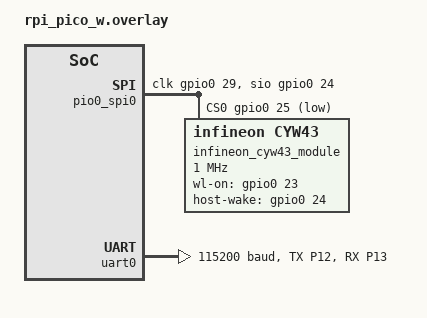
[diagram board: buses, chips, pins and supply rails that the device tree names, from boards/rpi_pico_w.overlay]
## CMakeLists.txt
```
# SPDX-License-Identifier: Apache-2.0

cmake_minimum_required(VERSION 3.20.0)

set(DTS_ROOT_BINDINGS "${CMAKE_CURRENT_SOURCE_DIR}")

set(BOARD rpi_pico_w)

set(EXTRA_CONF_FILE local.conf)
find_package(Zephyr REQUIRED HINTS $ENV{ZEPHYR_BASE})
project(app LANGUAGES C)


include_directories(app PRIVATE src)

FILE(GLOB app_sources src/*.c)
target_sources(app PRIVATE
  ${app_sources}
  )

add_subdirectory(../ build/drivers)

# zephyr_compile_options(-save-temps)
```

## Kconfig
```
menu "App"
config WIFI_SSID
	string "WIFI SSID - Network name"
	default ""

config WIFI_PSK
	string "WIFI PSK - Network password key"
	default ""

rsource "../Kconfig"
endmenu

menu "Zephyr"
source "Kconfig.zephyr"
endmenu
```

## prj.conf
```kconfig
#
# Copyright (c) 2023 Beechwoods Software
#
# SPDX-License-Identifier: Apache-2.0
#
CONFIG_DEBUG=y

CONFIG_NET_MGMT_EVENT_STACK_SIZE=2048
CONFIG_SHELL_STACK_SIZE=2560

CONFIG_NET_LOG=y
#CONFIG_NET_IF_LOG_LEVEL_DBG=y
#CONFIG_NET_PKT_LOG_LEVEL_DBG=y
CONFIG_WIFI_LOG_LEVEL_INF=y
#CONFIG_NET_CAPTURE_LOG_LEVEL_DBG=y
#CONFIG_DNS_RESOLVER_LOG_LEVEL_DBG=y

CONFIG_POSIX_API=y

CONFIG_WIFI=y
CONFIG_WIFI_ZEPHYR_CYW43=y
CONFIG_WIFI_ZEPHYR_CYW43_SHELL=y

# To use the picowi spi-pio implementation, change CONFIG_USE_PICOWI_PIOSPI to 'y'
CONFIG_USE_PICOWI_PIOSPI=y

CONFIG_UART_CONSOLE_DEBUG_SERVER_HOOKS=n

CONFIG_ENTROPY_GENERATOR=y
CONFIG_TEST_RANDOM_GENERATOR=y

CONFIG_NETWORKING=y
CONFIG_NET_L2_ETHERNET=y
CONFIG_INIT_STACKS=y
CONFIG_NET_STATISTICS=y
CONFIG_NET_STATISTICS_WIFI=y
CONFIG_NET_STATISTICS_USER_API=y

CONFIG_NET_SHELL=y
CONFIG_NET_CONFIG_SETTINGS=y
CONFIG_NET_CONFIG_INIT_TIMEOUT=60
CONFIG_NET_CONFIG_AUTO_INIT=n
CONFIG_NET_L2_WIFI_SHELL=y

CONFIG_NET_UDP=y
CONFIG_NET_TCP=y

CONFIG_NET_MGMT=y
CONFIG_NET_MGMT_EVENT=y
CONFIG_WIFI_MGMT_RAW_SCAN_RESULTS=y
CONFIG_NET_MGMT_EVENT_MONITOR=y
CONFIG_NET_CONFIG_SETTINGS=y

CONFIG_NET_IPV6=n
CONFIG_NET_IPV4=y
CONFIG_NET_DHCPV4=y

CONFIG_NET_HOSTNAME_ENABLE=y
CONFIG_NET_HOSTNAME="pico_w"

CONFIG_DNS_RESOLVER=y
CONFIG_DNS_RESOLVER_ADDITIONAL_BUF_CTR=5
CONFIG_DNS_RESOLVER_ADDITIONAL_QUERIES=2
CONFIG_DNS_SERVER_IP_ADDRESSES=y
CONFIG_DNS_SERVER1="8.8.8.8"

#---- new

CONFIG_NET_CONFIG_NEED_IPV6_ROUTER=n

CONFIG_DNS_SD=y

CONFIG_MDNS_RESPONDER=y
CONFIG_MDNS_RESPONDER_DNS_SD=y
CONFIG_MDNS_RESPONDER_TTL=600
CONFIG_MDNS_RESPONDER_INIT_PRIO=96
CONFIG_MDNS_RESPONDER_DNS_SD=y
CONFIG_MDNS_RESPONDER_DNS_SD_SERVICE_TYPE_ENUMERATION=y

CONFIG_SNTP=y
CONFIG_SNTP_LOG_LEVEL_INF=y

CONFIG_NET_SOCKETS=y
CONFIG_NET_SOCKETS_PRIORITY_DEFAULT=50
CONFIG_NET_SOCKETS_POLL_MAX=3
CONFIG_NET_SOCKETS_CONNECT_TIMEOUT=3000
CONFIG_NET_SOCKETS_DNS_TIMEOUT=2000
CONFIG_NET_SOCKET_MAX_SEND_WAIT=10000
CONFIG_NET_SOCKETS_TLS_PRIORITY=45
CONFIG_NET_SOCKETS_TLS_SET_MAX_FRAGMENT_LENGTH=y
CONFIG_NET_SOCKETS_OFFLOAD_PRIORITY=40
#CONFIG_NET_SOCKETS_LOG_LEVEL=0

#---- new end

# Powersave parameters
CONFIG_WIFI_ZEPHYR_CYW43_POWERSAVE_MODE=0
CONFIG_WIFI_ZEPHYR_CYW43_POWERSAVE_PM2_SLEEP_RET_MS=20
CONFIG_WIFI_ZEPHYR_CYW43_POWERSAVE_LI_BEACON_PERIOD=1
CONFIG_WIFI_ZEPHYR_CYW43_POWERSAVE_LI_DTIM_PERIOD=1
CONFIG_WIFI_ZEPHYR_CYW43_POWERSAVE_LI_ASSOC=10

#------------------------------------------------

CONFIG_USE_SEGGER_RTT=y
CONFIG_SEGGER_RTT_MAX_NUM_UP_BUFFERS=5
CONFIG_SEGGER_RTT_MAX_NUM_DOWN_BUFFERS=5
CONFIG_SEGGER_RTT_BUFFER_SIZE_UP=2048
CONFIG_SEGGER_RTT_BUFFER_SIZE_DOWN=16
CONFIG_SEGGER_RTT_PRINTF_BUFFER_SIZE=64
CONFIG_SEGGER_RTT_MODE_NO_BLOCK_SKIP=y

CONFIG_LOG=y
CONFIG_LOG_DEFAULT_LEVEL=3
CONFIG_LOG_OVERRIDE_LEVEL=0
CONFIG_LOG_MAX_LEVEL=4
CONFIG_LOG_FUNC_NAME_PREFIX_DBG=y
CONFIG_LOG_PRINTK=y
CONFIG_LOG_MODE_OVERFLOW=y
CONFIG_LOG_PROCESS_TRIGGER_THRESHOLD=30
CONFIG_LOG_PROCESS_THREAD=y
CONFIG_LOG_PROCESS_THREAD_SLEEP_MS=1000
CONFIG_LOG_PROCESS_THREAD_STACK_SIZE=768
CONFIG_LOG_BUFFER_SIZE=2048
CONFIG_LOG_DOMAIN_ID=0

CONFIG_LOG_BACKEND_RTT=y
CONFIG_LOG_BACKEND_RTT_MODE_DROP=y
CONFIG_LOG_BACKEND_RTT_BUFFER=0
CONFIG_LOG_BACKEND_SHOW_COLOR=y
CONFIG_LOG_BACKEND_RTT_MESSAGE_SIZE=128

CONFIG_LOG_BACKEND_UART=n
CONFIG_LOG_BACKEND_FORMAT_TIMESTAMP=n
CONFIG_LOG_BACKEND_SHOW_COLOR=n
```

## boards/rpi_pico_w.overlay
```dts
&pinctrl {

	pio0_spi0_default: pio0_spi0_default {
	    /* gpio 25 is used for chip select, not assigned to the PIO */
		group1 {
			pinmux = <PIO0_P29>, <PIO0_P23>;
		};
	};

    uart0_default: uart0_default {
        group1 {
            pinmux = <UART0_TX_P12>;  // pin 16, GP12
        };
        group2 {
            pinmux = <UART0_RX_P13>;  // pin 17, GP13
            input-enable;
        };
    };
};

&pio0 {
 	status = "okay";

	pio0_spi0: pio0_spi0 {
		pinctrl-0 = <&pio0_spi0_default>;
		pinctrl-names = "default";

		compatible = "custom_raspberrypi,pico-spi-pio";
		status = "okay";
		#address-cells = <1>;
		#size-cells = <0>;
		clocks = < &clk_sys >;
    	cs-gpios = <&gpio0 25 GPIO_ACTIVE_LOW>;
		clk-gpios = <&gpio0 29 GPIO_ACTIVE_HIGH>;
		sio-gpios = <&gpio0 24 GPIO_ACTIVE_HIGH>;
		infineon_cyw43_module: infineon_cyw43_module@0 {
			compatible = "infineon,cyw43";
			reg = < 0x0 >;
			spi-max-frequency = < 1000000 >;
			wl-on-gpios = < &gpio0 23 GPIO_ACTIVE_HIGH >;
			host-wake-gpios = <&gpio0 24 GPIO_ACTIVE_HIGH>;	

			cyw43_led: cyw43_led {		/* Pico W LED is on CYW43439 GPIO 0 */
				compatible = "infineon,cyw43_led";
			};
			cyw43_gpio: cyw43_gpio {
				compatible = "infineon,cyw43_gpio";
			};
		};
	};
};

&uart0 {
    current-speed = <115200>;
    status = "okay";
    pinctrl-0 = <&uart0_default>;
    pinctrl-names = "default";
};
```

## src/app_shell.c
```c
/*
 * Copyright (c) 2024  Callender-Consulting LLC
 *
 * SPDX-License-Identifier: Apache-2.0
 */

#include <zephyr/kernel.h>
#include <zephyr/device.h>
#include <zephyr/sys/printk.h>
#include <zephyr/shell/shell.h>
#include <zephyr/drivers/uart.h>
#include <zephyr/net/sntp.h>
#include <zephyr/posix/time.h>

#include <stdio.h>
#include <time.h>

#ifdef CONFIG_POSIX_API
#include <arpa/inet.h>
#endif

#include "app_shell.h"

#include <zephyr/logging/log.h>
LOG_MODULE_REGISTER(app_shell, LOG_LEVEL_INF);

/*---------------------------------------------------------------------------*/
/*                                                                           */
/*---------------------------------------------------------------------------*/

/*---------------------------------------------------------------------------*/
/*                                                                           */
/*---------------------------------------------------------------------------*/
static int cmd_shell_info(const struct shell *sh, size_t argc, char *argv[])
{
    ARG_UNUSED(argc);
    ARG_UNUSED(argv);

    shell_print(sh, "** Welcome to PICO-W App");
    shell_print(sh, "** Built on %s at %s", __DATE__, __TIME__);
    shell_print(sh, "** Board '%s'", CONFIG_BOARD);

    return 0;
}


/*---------------------------------------------------------------------------*/
/*                                                                           */
/*---------------------------------------------------------------------------*/
static const char * format_time(time_t time, long nsec)
{
    static char buf[48];
    char * bp = buf;
    char * const bpe = bp + sizeof(buf);
    struct tm tv;
    struct tm * tp = gmtime_r(&time, &tv);

    bp += strftime(bp, bpe - bp, "%Y-%m-%d %H:%M:%S", tp);
    bp += strftime(bp, bpe - bp, " %a %j", tp);

    return buf;
}

/*---------------------------------------------------------------------------*/
/*                                                                           */
/*---------------------------------------------------------------------------*/
static int cmd_shell_time(const struct shell *sh, size_t argc, char *argv[])
{
    ARG_UNUSED(argc);
    ARG_UNUSED(argv);

    #define SNTP_PORT   123
    #define SERVER_ADDR "132.163.96.4"  // NIST, Boulder, Colorado
    //                   129.6.15.26    // NIST, Gaithersburg, Maryland

    struct sntp_ctx ctx;
    struct sockaddr_in addr;
    struct sntp_time sntp_time;
    int rv;

    /* ipv4 */
    memset(&addr, 0, sizeof(addr));
    addr.sin_family = AF_INET;
    addr.sin_port = htons(SNTP_PORT);
    zsock_inet_pton(AF_INET, SERVER_ADDR, &addr.sin_addr);

    rv = sntp_init(&ctx, (struct sockaddr *) &addr,
               sizeof(struct sockaddr_in));
    if (rv < 0) {
        LOG_ERR("Failed to init SNTP IPv4 ctx: %d", rv);
        goto end;
    }

    LOG_DBG("Sending SNTP IPv4 request...");
    rv = sntp_query(&ctx, 4 * MSEC_PER_SEC, &sntp_time);
    if (rv < 0) {
        LOG_ERR("SNTP IPv4 request failed: %d", rv);
        goto end;
    }

    LOG_DBG("Acquired time from NTP server: %u",
                (uint32_t)sntp_time.seconds);

    shell_print(sh, "\t%s", format_time(sntp_time.seconds, sntp_time.fraction));

end:
    sntp_close(&ctx);
    return 0;
}

/*---------------------------------------------------------------------------*/
/*                                                                           */
/*---------------------------------------------------------------------------*/

SHELL_STATIC_SUBCMD_SET_CREATE(app_cmds,
    SHELL_CMD(info,     NULL, "App info", cmd_shell_info),
    SHELL_CMD(time,     NULL, "App time", cmd_shell_time),
    SHELL_SUBCMD_SET_END
);

SHELL_CMD_REGISTER(app, &app_cmds, "App commands", NULL);
```

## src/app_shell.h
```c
/*
 *   app_shell.h
 */
#ifndef __APP_SHELL_H
#define __APP_SHELL_H

/*---------------------------------------------------------------------------*/
/*                                                                           */
/*---------------------------------------------------------------------------*/

#endif  /* __APP_SHELL_H */
```
